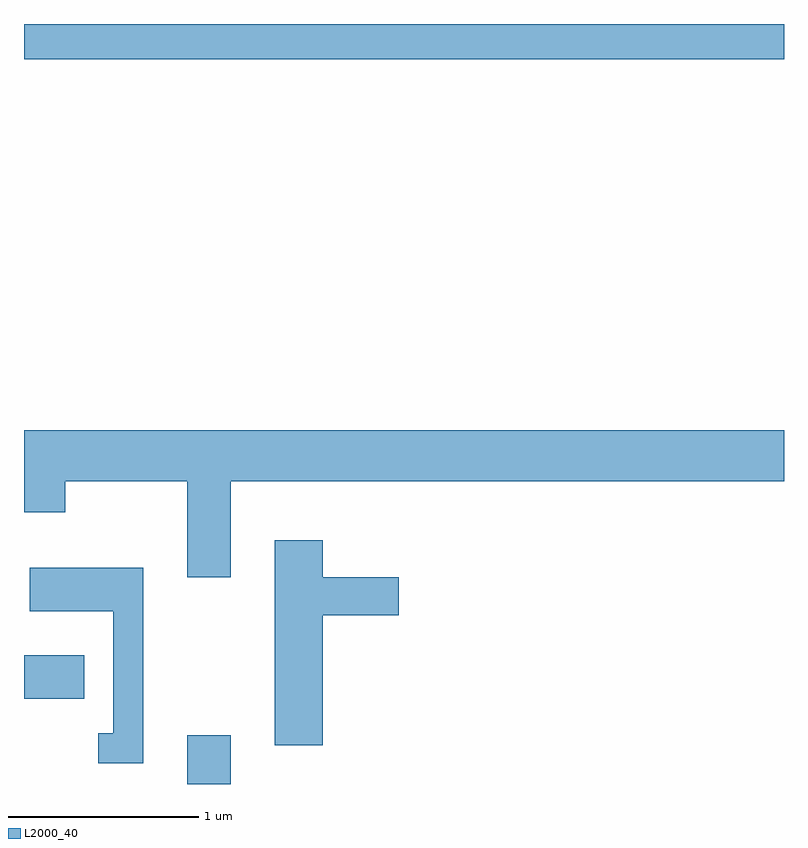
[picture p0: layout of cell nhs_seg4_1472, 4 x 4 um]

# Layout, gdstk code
import gdstk
lib = gdstk.Library(unit=1e-6, precision=1e-09)
def R(c, l, rs):  # rectangles x0, y0, x1, y1
    for r in rs: c.add(gdstk.rectangle(r[:2], r[2:], *l))
def P(c, l, *ps):  # polygons
    for p in ps: c.add(gdstk.Polygon(p, *l))
L2000_40 = (2000, 40)

nhs_seg4_1472 = lib.new_cell('nhs_seg4_1472')
R(nhs_seg4_1472, L2000_40, [(228.471,1341.982,228.699,1342.239), (227.611,1342.431,227.929,1342.659), (227.611,1345.796,231.611,1345.982)])
P(nhs_seg4_1472, L2000_40, [(228.699,1343.576),(231.611,1343.576),(231.611,1343.844),(227.611,1343.844),(227.611,1343.411),(227.829,1343.411),(227.829,1343.576),(228.471,1343.576),(228.471,1343.071),(228.699,1343.071)],
  [(229.184,1342.871),(229.584,1342.871),(229.584,1343.069),(229.184,1343.069),(229.184,1343.264),(228.931,1343.264),(228.931,1342.186),(229.184,1342.186)],
  [(228.239,1343.119),(227.641,1343.119),(227.641,1342.891),(228.081,1342.891),(228.081,1342.249),(228.003,1342.249),(228.003,1342.091),(228.239,1342.091)])

lib.write_gds('nhs_seg4_1472.gds')
